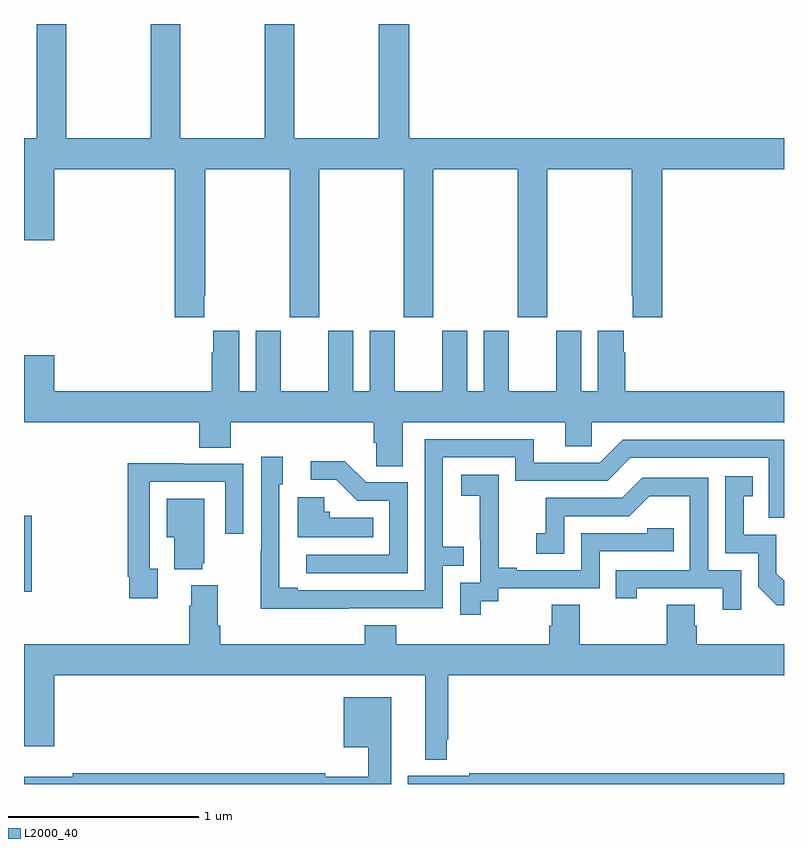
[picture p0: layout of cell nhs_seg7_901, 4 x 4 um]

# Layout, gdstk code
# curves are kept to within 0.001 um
import gdstk
lib = gdstk.Library(unit=1e-6, precision=1e-09)
def R(c, l, rs):  # rectangles x0, y0, x1, y1
    for r in rs: c.add(gdstk.rectangle(r[:2], r[2:], *l))
def P(c, l, *ps):  # polygons
    for p in ps: c.add(gdstk.Polygon(p, *l))
L2000_40 = (2000, 40)

nhs_seg7_901 = lib.new_cell('nhs_seg7_901')
R(nhs_seg7_901, L2000_40, [(177,1045.011,177.041,1045.412)])
P(nhs_seg7_901, L2000_40, [(177.949,1046.569),(177.954,1046.569),(177.954,1047.236),(178.399,1047.236),(178.399,1046.457),(178.554,1046.457),(178.554,1047.236),(178.999,1047.236),(178.999,1046.457),(179.154,1046.457),(179.154,1047.236),(179.599,1047.236),(179.599,1046.457),(179.754,1046.457),(179.754,1047.236),(180.199,1047.236),(180.199,1046.569),(180.203,1046.569),(180.203,1046.457),(180.359,1046.457),(180.359,1047.236),(181,1047.236),(181,1047.4),(179.027,1047.4),(179.027,1048),(178.867,1048),(178.867,1047.4),(178.422,1047.4),(178.422,1048),(178.267,1048),(178.267,1047.4),(177.822,1047.4),(177.822,1048),(177.667,1048),(177.667,1047.4),(177.222,1047.4),(177.222,1048),(177.067,1048),(177.067,1047.4),(177,1047.4),(177,1046.862),(177.16,1046.862),(177.16,1047.236),(177.794,1047.236),(177.794,1046.457),(177.949,1046.457)],
  [(180.157,1046.273),(180.157,1046.386),(180.02,1046.386),(180.02,1046.068),(179.932,1046.068),(179.932,1046.386),(179.801,1046.386),(179.801,1046.068),(179.551,1046.068),(179.551,1046.386),(179.42,1046.386),(179.42,1046.068),(179.332,1046.068),(179.332,1046.386),(179.201,1046.386),(179.201,1046.068),(178.951,1046.068),(178.951,1046.386),(178.82,1046.386),(178.82,1046.068),(178.732,1046.068),(178.732,1046.386),(178.601,1046.386),(178.601,1046.068),(178.351,1046.068),(178.351,1046.386),(178.22,1046.386),(178.22,1046.068),(178.132,1046.068),(178.132,1046.386),(177.995,1046.386),(177.995,1046.273),(177.989,1046.273),(177.989,1046.068),(177.16,1046.068),(177.16,1046.257),(177,1046.257),(177,1045.904),(177.923,1045.904),(177.923,1045.771),(178.088,1045.771),(178.088,1045.904),(178.841,1045.904),(178.841,1045.795),(178.854,1045.795),(178.854,1045.672),(178.993,1045.672),(178.993,1045.904),(179.849,1045.904),(179.849,1045.777),(179.988,1045.777),(179.988,1045.904),(181,1045.904),(181,1046.068),(180.164,1046.068),(180.164,1046.273)],
  [(178.709,1044.924),(179.205,1044.924),(179.205,1045.149),(179.315,1045.149),(179.315,1045.25),(179.205,1045.25),(179.205,1045.719),(179.586,1045.719),(179.586,1045.596),(180.072,1045.596),(180.192,1045.716),(180.921,1045.716),(180.921,1045.401),(181,1045.401),(181,1045.812),(180.15,1045.812),(180.03,1045.692),(179.683,1045.692),(179.683,1045.815),(179.109,1045.815),(179.109,1045.02),(178.441,1045.02),(178.441,1045.033),(178.344,1045.033),(178.344,1045.578),(178.363,1045.578),(178.363,1045.723),(178.248,1045.723),(178.248,1045.229),(178.246,1045.229),(178.246,1044.923)],
  [(179.019,1045.587),(178.8,1045.587),(178.687,1045.7),(178.509,1045.7),(178.509,1045.602),(178.643,1045.602),(178.754,1045.491),(178.923,1045.491),(178.923,1045.206),(178.485,1045.206),(178.485,1045.11),(179.019,1045.11)],
  [(177.703,1045.134),(177.663,1045.134),(177.663,1045.59),(178.059,1045.59),(178.059,1045.317),(178.155,1045.317),(178.155,1045.686),(177.839,1045.686),(177.839,1045.688),(177.547,1045.688),(177.547,1045.09),(177.555,1045.09),(177.555,1044.978),(177.703,1044.978)],
  [(179.404,1044.961),(179.496,1044.961),(179.496,1045.029),(180.03,1045.029),(180.03,1045.224),(180.419,1045.224),(180.419,1045.347),(180.279,1045.347),(180.279,1045.32),(179.934,1045.32),(179.934,1045.125),(179.593,1045.125),(179.593,1045.138),(179.498,1045.138),(179.498,1045.421),(179.499,1045.421),(179.499,1045.627),(179.301,1045.627),(179.301,1045.517),(179.399,1045.517),(179.399,1045.289),(179.4,1045.289),(179.4,1045.059),(179.295,1045.059),(179.295,1044.891),(179.404,1044.891)],
  [(181,1045.07),(180.96,1045.11),(180.96,1045.311),(180.787,1045.311),(180.787,1045.515),(180.836,1045.515),(180.836,1045.621),(180.69,1045.621),(180.69,1045.215),(180.864,1045.215),(180.864,1045.038),(180.962,1044.941),(181,1044.941)],
  [(180.774,1045.125),(180.6,1045.125),(180.6,1045.611),(180.254,1045.611),(180.149,1045.506),(179.746,1045.506),(179.746,1045.321),(179.697,1045.321),(179.697,1045.212),(179.844,1045.212),(179.844,1045.41),(180.186,1045.41),(180.29,1045.514),(180.504,1045.514),(180.504,1045.125),(180.115,1045.125),(180.115,1044.978),(180.226,1044.978),(180.226,1045.029),(180.677,1045.029),(180.677,1044.918),(180.774,1044.918)],
  [(178.838,1045.402),(178.608,1045.402),(178.608,1045.434),(178.581,1045.434),(178.581,1045.51),(178.442,1045.51),(178.442,1045.298),(178.838,1045.298)],
  [(177.938,1045.161),(177.949,1045.161),(177.949,1045.501),(177.752,1045.501),(177.752,1045.298),(177.791,1045.298),(177.791,1045.13),(177.938,1045.13)],
  [(179.226,1044.235),(179.233,1044.235),(179.233,1044.572),(181,1044.572),(181,1044.736),(180.542,1044.736),(180.542,1044.834),(180.529,1044.834),(180.529,1044.944),(180.382,1044.944),(180.382,1044.736),(179.925,1044.736),(179.925,1044.944),(179.777,1044.944),(179.777,1044.834),(179.765,1044.834),(179.765,1044.736),(178.958,1044.736),(178.958,1044.835),(178.793,1044.835),(178.793,1044.736),(178.034,1044.736),(178.034,1044.832),(178.021,1044.832),(178.021,1045.045),(177.881,1045.045),(177.881,1044.938),(177.869,1044.938),(177.869,1044.736),(177,1044.736),(177,1044.198),(177.16,1044.198),(177.16,1044.572),(179.111,1044.572),(179.111,1044.128),(179.226,1044.128)],
  [(178.933,1044.457),(178.682,1044.457),(178.682,1044.194),(178.812,1044.194),(178.812,1044.037),(178.586,1044.037),(178.586,1044.056),(177.256,1044.056),(177.256,1044.037),(177,1044.037),(177,1044),(178.933,1044)],
  [(181,1044.056),(179.344,1044.056),(179.344,1044.043),(179.021,1044.043),(179.021,1044),(181,1044)])

lib.write_gds('nhs_seg7_901.gds')
